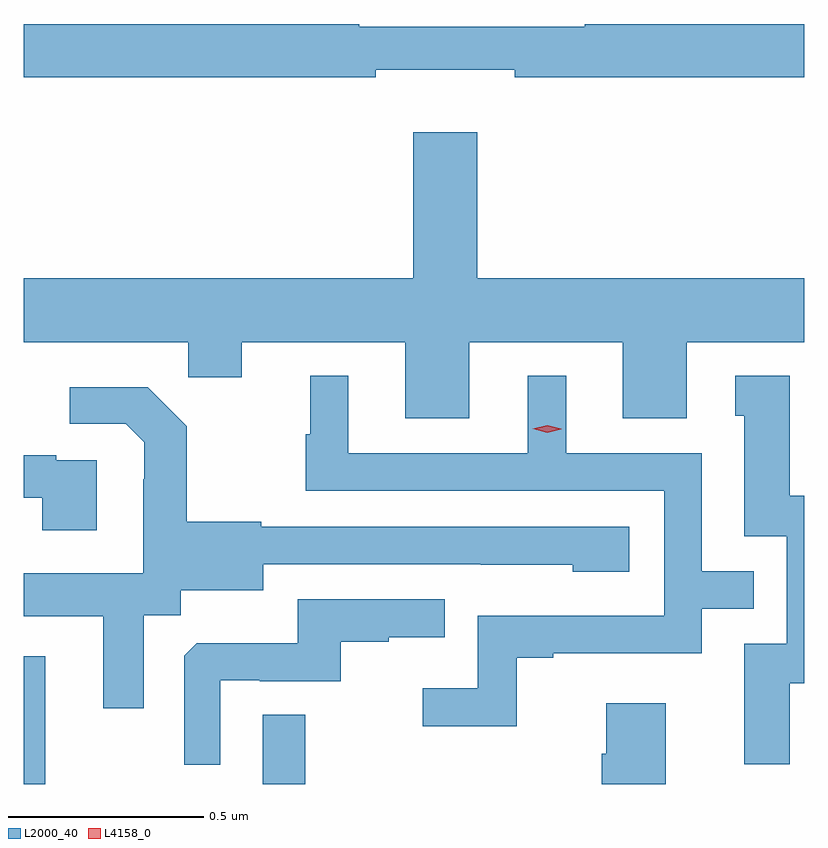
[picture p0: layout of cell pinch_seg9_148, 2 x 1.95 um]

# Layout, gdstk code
import gdstk
lib = gdstk.Library(unit=1e-6, precision=1e-09)
def R(c, l, rs):  # rectangles x0, y0, x1, y1
    for r in rs: c.add(gdstk.rectangle(r[:2], r[2:], *l))
def P(c, l, *ps):  # polygons
    for p in ps: c.add(gdstk.Polygon(p, *l))
L2000_40 = (2000, 40)
L4158_0 = (4158, 0)

pinch_seg9_148 = lib.new_cell('pinch_seg9_148')
R(pinch_seg9_148, L2000_40, [(643.53,1216.6,643.585,1216.927), (644.142,1216.6,644.251,1216.778)])
P(pinch_seg9_148, L2000_40, [(644.432,1218.431),(644.788,1218.431),(644.788,1218.412),(645.53,1218.412),(645.53,1218.548),(644.968,1218.548),(644.968,1218.541),(644.39,1218.541),(644.39,1218.548),(643.53,1218.548),(643.53,1218.412),(644.432,1218.412)],
  [(643.53,1217.732),(643.951,1217.732),(643.951,1217.642),(644.089,1217.642),(644.089,1217.732),(644.507,1217.732),(644.507,1217.538),(644.671,1217.538),(644.671,1217.732),(645.065,1217.732),(645.065,1217.538),(645.229,1217.538),(645.229,1217.732),(645.53,1217.732),(645.53,1217.896),(644.692,1217.896),(644.692,1218.271),(644.528,1218.271),(644.528,1217.896),(643.53,1217.896)],
  [(644.793,1216.923),(644.887,1216.923),(644.887,1216.935),(645.267,1216.935),(645.267,1217.049),(645.401,1217.049),(645.401,1217.145),(645.267,1217.145),(645.267,1217.448),(644.92,1217.448),(644.92,1217.647),(644.822,1217.647),(644.822,1217.448),(644.362,1217.448),(644.362,1217.647),(644.264,1217.647),(644.264,1217.496),(644.253,1217.496),(644.253,1217.352),(645.171,1217.352),(645.171,1217.031),(644.694,1217.031),(644.694,1216.846),(644.553,1216.846),(644.553,1216.748),(644.793,1216.748)],
  [(645.493,1216.858),(645.53,1216.858),(645.53,1217.339),(645.493,1217.339),(645.493,1217.647),(645.353,1217.647),(645.353,1217.544),(645.377,1217.544),(645.377,1217.235),(645.486,1217.235),(645.486,1216.959),(645.377,1216.959),(645.377,1216.65),(645.493,1216.65)],
  [(643.837,1217.032),(643.932,1217.032),(643.932,1217.096),(644.143,1217.096),(644.143,1217.163),(644.701,1217.163),(644.701,1217.162),(644.937,1217.162),(644.937,1217.144),(645.082,1217.144),(645.082,1217.259),(644.139,1217.259),(644.139,1217.272),(643.947,1217.272),(643.947,1217.517),(643.847,1217.617),(643.647,1217.617),(643.647,1217.523),(643.791,1217.523),(643.838,1217.476),(643.838,1217.381),(643.836,1217.381),(643.836,1217.14),(643.53,1217.14),(643.53,1217.03),(643.733,1217.03),(643.733,1216.794),(643.837,1216.794)],
  [(643.717,1217.43),(643.613,1217.43),(643.613,1217.443),(643.53,1217.443),(643.53,1217.334),(643.577,1217.334),(643.577,1217.25),(643.717,1217.25)],
  [(644.034,1216.866),(644.134,1216.866),(644.134,1216.863),(644.342,1216.863),(644.342,1216.965),(644.465,1216.965),(644.465,1216.976),(644.609,1216.976),(644.609,1217.073),(644.232,1217.073),(644.232,1216.961),(643.973,1216.961),(643.941,1216.929),(643.941,1216.649),(644.034,1216.649)],
  [(645.175,1216.807),(645.023,1216.807),(645.023,1216.677),(645.011,1216.677),(645.011,1216.6),(645.175,1216.6)])
P(pinch_seg9_148, L4158_0, [(644.871,1217.5),(644.835,1217.511),(644.835,1217.511),(644.835,1217.511),(644.871,1217.52),(644.907,1217.51),(644.907,1217.51),(644.907,1217.509)])

lib.write_gds('pinch_seg9_148.gds')
